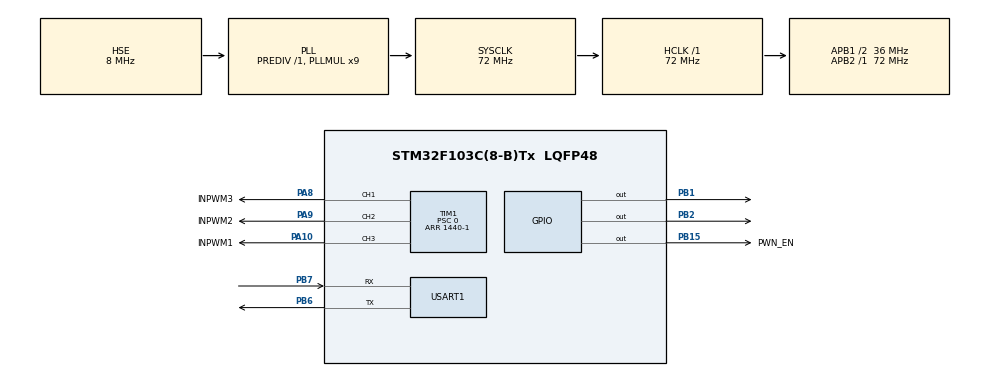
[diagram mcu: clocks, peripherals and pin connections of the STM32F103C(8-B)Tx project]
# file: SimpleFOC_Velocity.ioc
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Mcu.Family=STM32F1
Mcu.Name=STM32F103C(8-B)Tx
Mcu.Package=LQFP48
NVIC.PriorityGroup=NVIC_PRIORITYGROUP_4
NVIC.TIM4_IRQn=true\:0\:0\:false\:false\:true\:true\:true\:true
PA10.GPIO_Label=INPWM1
PA10.Signal=S_TIM1_CH3
PA13.Mode=Serial_Wire
PA13.Signal=SYS_JTMS-SWDIO
PA14.Mode=Serial_Wire
PA14.Signal=SYS_JTCK-SWCLK
PA8.GPIO_Label=INPWM3
PA8.Signal=S_TIM1_CH1
PA9.GPIO_Label=INPWM2
PA9.Signal=S_TIM1_CH2
PB1.GPIO_ModeDefaultOutputPP=GPIO_MODE_OUTPUT_OD
PB1.GPIO_PuPd=GPIO_NOPULL
PB1.GPIO_Speed=GPIO_SPEED_FREQ_HIGH
PB1.Signal=GPIO_Output
PB15.GPIO_Label=PWN_EN
PB15.Signal=GPIO_Output
PB2.GPIO_ModeDefaultOutputPP=GPIO_MODE_OUTPUT_OD
PB2.GPIO_PuPd=GPIO_NOPULL
PB2.GPIO_Speed=GPIO_SPEED_FREQ_HIGH
PB2.Signal=GPIO_Output
PB6.Mode=Asynchronous
PB6.Signal=USART1_TX
PB7.Mode=Asynchronous
PB7.Signal=USART1_RX
PD0-OSC_IN.Mode=HSE-External-Oscillator
PD0-OSC_IN.Signal=RCC_OSC_IN
PD1-OSC_OUT.Mode=HSE-External-Oscillator
PD1-OSC_OUT.Signal=RCC_OSC_OUT
ProjectManager.HeapSize=0x200
ProjectManager.StackSize=0x400
ProjectManager.TargetToolchain=Makefile
RCC.AHBFreq_Value=72000000
RCC.APB1CLKDivider=RCC_HCLK_DIV2
RCC.APB1Freq_Value=36000000
RCC.APB1TimFreq_Value=72000000
RCC.APB2Freq_Value=72000000
RCC.APB2TimFreq_Value=72000000
RCC.HCLKFreq_Value=72000000
RCC.PLLMUL=RCC_PLL_MUL9
RCC.PLLSourceVirtual=RCC_PLLSOURCE_HSE
RCC.SYSCLKFreq_VALUE=72000000
RCC.SYSCLKSource=RCC_SYSCLKSOURCE_PLLCLK
RCC.USBFreq_Value=72000000
SH.S_TIM1_CH1.0=TIM1_CH1,PWM Generation1 CH1
SH.S_TIM1_CH2.0=TIM1_CH2,PWM Generation2 CH2
SH.S_TIM1_CH3.0=TIM1_CH3,PWM Generation3 CH3
TIM1.Channel-PWM\ Generation1\ CH1=TIM_CHANNEL_1
TIM1.Channel-PWM\ Generation2\ CH2=TIM_CHANNEL_2
TIM1.Channel-PWM\ Generation3\ CH3=TIM_CHANNEL_3
TIM1.Period=1440-1
TIM1.Prescaler=0
TIM4.Period=1000-1
TIM4.Prescaler=72-1
USART1.VirtualMode=VM_ASYNC
VP_TIM1_VS_ClockSourceINT.Mode=Internal
VP_TIM4_VS_ClockSourceINT.Mode=Internal
board=custom

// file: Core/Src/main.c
/* USER CODE BEGIN Header */
/**
 ******************************************************************************
 * @file           : main.c
 * @brief          : Main program body
 ******************************************************************************
 * @attention
 *
 * Copyright (c) 2023 STMicroelectronics.
 * All rights reserved.
 *
 * This software is licensed under terms that can be found in the LICENSE file
 * in the root directory of this software component.
 * If no LICENSE file comes with this software, it is provided AS-IS.
 *
 ******************************************************************************
 */
/* USER CODE END Header */
#include "main.h"
#include "tim.h"
#include "usart.h"
#include "gpio.h"

/* USER CODE BEGIN Includes */
#include "Mymain.h"
/* USER CODE END Includes */

void SystemClock_Config(void);

int main(void)
{

    /* MCU Configuration--------------------------------------------------------*/

    /* Reset of all peripherals, Initializes the Flash interface and the Systick. */
    HAL_Init();

    /* Configure the system clock */
    SystemClock_Config();

    /* Initialize all configured peripherals */
    MX_GPIO_Init();
    MX_TIM1_Init();
    MX_USART1_UART_Init();
    MX_TIM4_Init();
    /* USER CODE BEGIN 2 */
    HAL_TIM_PWM_Start(&htim1, TIM_CHANNEL_1);
    HAL_TIM_PWM_Start(&htim1, TIM_CHANNEL_2);
    HAL_TIM_PWM_Start(&htim1, TIM_CHANNEL_3);
    delay_ms(1000);
    AS5600_Sensor_Init();
    voltage_power_supply = 12;
    pole_pairs           = 7;
    voltage_limit        = 6;
    velocity_limit       = 20;
    voltage_sensor_align = 2;
    torque_controller    = Type_voltage;
    controller           = Type_velocity;
    target               = 0;

    Motor_init();
    Motor_initFOC();
    PID_init();

    target = 6.28;
    systick_CountMode();
    /* USER CODE END 2 */

    /* Infinite loop */
    while (1) {

        /* USER CODE BEGIN 3 */
        move(target);
        loopFOC();
    }
    /* USER CODE END 3 */
}

void SystemClock_Config(void)
{
    RCC_OscInitTypeDef RCC_OscInitStruct = {0};
    RCC_ClkInitTypeDef RCC_ClkInitStruct = {0};

    /** Initializes the RCC Oscillators according to the specified parameters
     * in the RCC_OscInitTypeDef structure.
     */
    RCC_OscInitStruct.OscillatorType = RCC_OSCILLATORTYPE_HSE;
    RCC_OscInitStruct.HSEState       = RCC_HSE_ON;
    RCC_OscInitStruct.HSEPredivValue = RCC_HSE_PREDIV_DIV1;
    RCC_OscInitStruct.HSIState       = RCC_HSI_ON;
    RCC_OscInitStruct.PLL.PLLState   = RCC_PLL_ON;
    RCC_OscInitStruct.PLL.PLLSource  = RCC_PLLSOURCE_HSE;
    RCC_OscInitStruct.PLL.PLLMUL     = RCC_PLL_MUL9;
    if (HAL_RCC_OscConfig(&RCC_OscInitStruct) != HAL_OK) {
        Error_Handler();
    }

    /** Initializes the CPU, AHB and APB buses clocks
     */
    RCC_ClkInitStruct.ClockType      = RCC_CLOCKTYPE_HCLK | RCC_CLOCKTYPE_SYSCLK | RCC_CLOCKTYPE_PCLK1 | RCC_CLOCKTYPE_PCLK2;
    RCC_ClkInitStruct.SYSCLKSource   = RCC_SYSCLKSOURCE_PLLCLK;
    RCC_ClkInitStruct.AHBCLKDivider  = RCC_SYSCLK_DIV1;
    RCC_ClkInitStruct.APB1CLKDivider = RCC_HCLK_DIV2;
    RCC_ClkInitStruct.APB2CLKDivider = RCC_HCLK_DIV1;

    if (HAL_RCC_ClockConfig(&RCC_ClkInitStruct, FLASH_LATENCY_2) != HAL_OK) {
        Error_Handler();
    }
}

void Error_Handler(void)
{
    __disable_irq();
    while (1) {
    }
}
